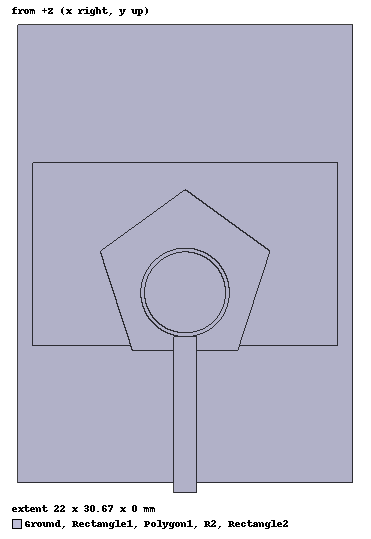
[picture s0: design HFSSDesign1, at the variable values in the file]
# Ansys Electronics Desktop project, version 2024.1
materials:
  vacuum: permittivity=1

design HFSSDesign1 (HFSS, HFSS Terminal Network, model units mm)
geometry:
  Ground = rectangle(corner=((-22/2) mm, (30/2) mm, 0mm), x_size=22mm, y_size=-30mm)
  Rectangle1 = rectangle(corner=((-20/2) mm, (12/2) mm, 0mm), x_size=20mm, y_size=-12mm)
  R2 = circle(normal=Z, centre=(0mm, 0mm, 0mm), radius=2.9mm)
  Polygon1 = regular_polygon(axis=Z, centre=(0mm, 0mm, 0mm), first_corner=(0mm, 5.85mm, 0mm), sides=5)
  Rectangle2 = rectangle(corner=((-1.5/2) mm, -4.7327494mm, 0mm), x_size=1.5mm, y_size=-10.267251mm)
  R2.move(0mm, -1.6172506mm, 0mm)
  Polyline1 = polyline((0mm, -15mm, 0mm) (0mm, 15mm, 0mm))
  Polyline2 = polyline((-11mm, -6.35mm, 0mm) (11mm, -6.35mm, 0mm))
  Polygon1.move(0mm, -1.6172506mm, 0mm)
  Polyline3 = polyline((-1.3mm, -5.2mm, 0mm) (1.4mm, -5.2mm, 0mm))
  R2.move(0mm, -0.7mm, 0mm)
  Rectangle2.move(0mm, -0.66725058mm, 0mm)
  Rectangle3 = rectangle(corner=(-0.75mm, -5.4mm, 0mm), x_size=1.5mm, y_size=-0.95mm)
  Rectangle3_1 = Rectangle3.copy()
  Rectangle3.delete()
  Polygon1.subtract(Rectangle3_1)
  Polyline3.move(0mm, -0.2mm, 0mm)
  Polyline4 = polyline((-0.75mm, -5.8005507mm, 0mm) (-0.75mm, -6.0543104mm, 0mm))
  Polyline5 = polyline((0.75mm, -5.8005507mm, 0mm) (0.75mm, -6.0543104mm, 0mm))
  R2.move(0mm, -0.2mm, 0mm)
  Circle2 = circle(normal=Z, centre=(0mm, -2.5172506mm, 0mm), radius=2.65mm)
  R2.subtract(Circle2)
